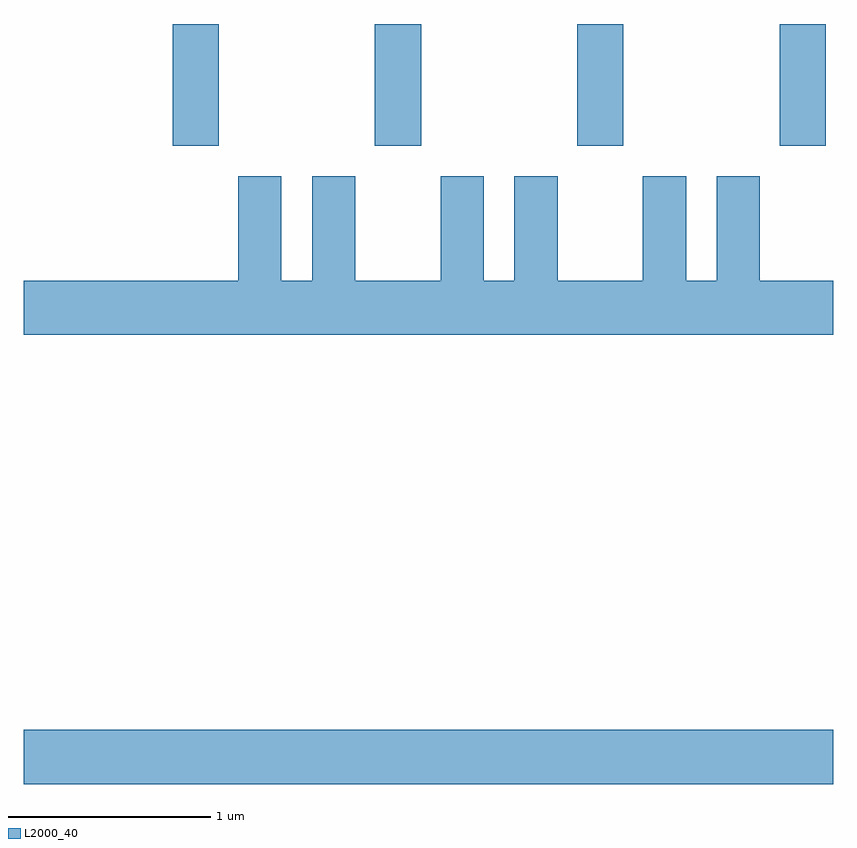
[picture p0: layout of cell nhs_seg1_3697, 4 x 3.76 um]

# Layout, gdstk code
import gdstk
lib = gdstk.Library(unit=1e-6, precision=1e-09)
def R(c, l, rs):  # rectangles x0, y0, x1, y1
    for r in rs: c.add(gdstk.rectangle(r[:2], r[2:], *l))
def A(c, l, x, y, w, h, nx, ny, dx, dy):  # array of equal rectangles
    R(c, l, [(x+i*dx, y+j*dy, x+i*dx+w, y+j*dy+h) for i in range(nx) for j in range(ny)])
def P(c, l, *ps):  # polygons
    for p in ps: c.add(gdstk.Polygon(p, *l))
L2000_40 = (2000, 40)

nhs_seg1_3697 = lib.new_cell('nhs_seg1_3697')
A(nhs_seg1_3697, L2000_40, 296.346, 967.111, 0.228, 0.601, 4, 1, 1, 0)
R(nhs_seg1_3697, L2000_40, [(295.611,963.956,299.611,964.224)])
P(nhs_seg1_3697, L2000_40, [(299.611,966.444),(299.249,966.444),(299.249,966.959),(299.036,966.959),(299.036,966.444),(298.884,966.444),(298.884,966.959),(298.671,966.959),(298.671,966.444),(298.249,966.444),(298.249,966.959),(298.036,966.959),(298.036,966.444),(297.884,966.444),(297.884,966.959),(297.671,966.959),(297.671,966.444),(297.249,966.444),(297.249,966.959),(297.036,966.959),(297.036,966.444),(296.884,966.444),(296.884,966.959),(296.671,966.959),(296.671,966.444),(295.611,966.444),(295.611,966.176),(299.611,966.176)])

lib.write_gds('nhs_seg1_3697.gds')
